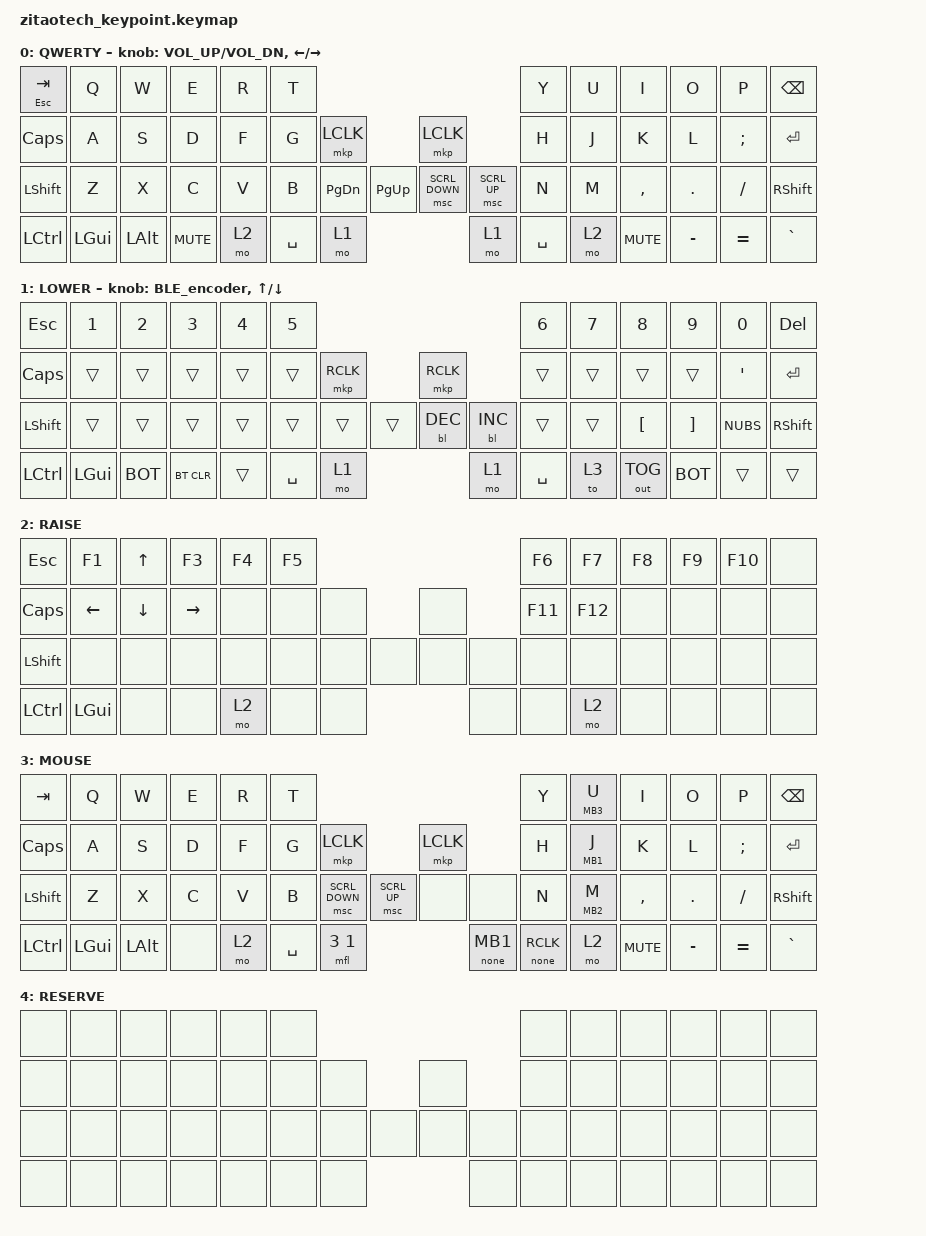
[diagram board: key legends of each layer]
/*
 * Copyright (c) 2025 ZitaoTech
 *
 * SPDX-License-Identifier: MIT
 */

#include <behaviors.dtsi>
#include <dt-bindings/zmk/keys.h>
#include <dt-bindings/zmk/bt.h>
#include <dt-bindings/zmk/outputs.h>

/* Hi-res wheel (CONFIG_ZMK_POINTING_SMOOTH_SCROLLING): wheel units are
 * 1/16 of a detent, so raise the &msc scroll-key speed 16x to keep the
 * old per-notch feel (10 notches/s -> 160 units/s). */
#define ZMK_POINTING_DEFAULT_SCRL_VAL 160

#include <dt-bindings/zmk/pointing.h>
#include <dt-bindings/zmk/mouse.h>
#include <dt-bindings/zmk/backlight.h>
#include <dt-bindings/zmk/ext_power.h>
#include <dt-bindings/zmk/rgb.h>
 
#define LOWER 1
#define RAISE 2
#define MOUSE 3
#define BOT bootloader

/ {
    behaviors {
        td0: tap_dance_0 {
            compatible = "zmk,behavior-tap-dance";
            #binding-cells = <0>;
            tapping-term-ms = <400>;
            bindings = <&mkp LCLK>, <&bt BT_CLR>;
        };
    };
    behaviors {
        tdRMCLK: tap_dance_R_LMouse {
            compatible = "zmk,behavior-tap-dance";
            #binding-cells = <0>;
            tapping-term-ms = <400>;
            bindings = <&mkp RCLK>, <&mkp MCLK>;
        };
    };

    behaviors {
        hm: homerow_mods {
            compatible = "zmk,behavior-hold-tap";
            #binding-cells = <2>;
            tapping-term-ms = <500>;
            bindings = <&kp &kp>;
        };
    };

    behaviors {
         LMouse_sc: behavior_LMouse_Scroll {
           compatible = "zmk,behavior-hold-tap";
           #binding-cells = <2>;
           flavor = "tap-preferred";     /* 单击优先 */
           tapping-term-ms = <200>;       /* 长按阈值 */
           bindings = <&none &mkp>;        /* hold=none, tap=Lmouse */
        };
    };

    behaviors {
         M_kp: behavior_mouse_keypress {
           compatible = "zmk,behavior-hold-tap";
           #binding-cells = <2>;
           flavor = "tap-preferred";     /* 单击优先 */
           tapping-term-ms = <200>;       /* 长按阈值 */
           bindings = <&mkp &kp>;        /* hold=mou key press, tap=key*/
        };
    };

    behaviors {
         prec_rc: behavior_precision_rightclick {
           compatible = "zmk,behavior-hold-tap";
           #binding-cells = <2>;
           flavor = "hold-preferred";     /* 按住期间按其他键不触发右键 (用法: &prec_rc 0 RCLK) */
           tapping-term-ms = <200>;       /* 按住 200ms 以上 = 纯精确定位, 不出输出 */
           bindings = <&none &mkp>;        /* hold=none, tap=mouse key */
        };
    };

    behaviors {
        BLE_encoder: BLE_encoder {
            compatible = "zmk,behavior-sensor-rotate";
            #sensor-binding-cells = <0>;
            bindings = <&bt BT_NXT>, <&bt BT_PRV>;
        };
    };

    behaviors {
        /* 按下: 立即退出鼠标层(param1)并临时进入数字层(param2), 松开恢复。
         * 用法: &mfl 3 1 —— 鼠标层里按 Lower 拇指键直接输数字 */
        mfl: mouse_free_layer {
            compatible = "zmk,behavior-mfl";
            #binding-cells = <2>;
            display-name = "Exit Mouse To Layer";
        };
    };


    keymap {
        compatible = "zmk,keymap";

         default_layer {
            display-name = "QWERTY";    
           bindings = <
&mt ESC TAB &kp Q  &kp W      &kp E      &kp R     &kp T                                                                 &kp Y       &kp U    &kp I      &kp O     &kp P     &kp BSPC
&kp CAPS  &kp A    &kp S      &kp D      &kp F     &kp G     &mkp LCLK                    &mkp LCLK                      &kp H       &kp J    &kp K      &kp L     &kp SEMI  &kp ENTER
&kp LSHFT &kp Z    &kp X      &kp C      &kp V     &kp B     &kp PG_DN  &kp PG_UP         &msc SCRL_DOWN  &msc SCRL_UP   &kp N       &kp M    &kp COMMA  &kp DOT   &kp FSLH  &kp RSHFT
&kp LCTRL &kp LGUI &kp LALT   &kp C_MUTE &mo 2     &kp SPACE &mo 1                                        &mo 1          &kp SPACE   &mo 2    &kp C_MUTE &kp MINUS &kp EQUAL &kp GRAVE
           >;
           sensor-bindings = <&inc_dec_kp C_VOL_UP C_VOL_DN &inc_dec_kp LEFT RIGHT>;
        };


        lower_layer {
            display-name = "LOWER";
            bindings = <
&kp ESC   &kp N1    &kp N2     &kp N3       &kp N4   &kp N5                                                               &kp N6    &kp N7   &kp N8       &kp N9    &kp N0     &kp DEL
&kp CAPS  &trans    &trans     &trans       &trans   &trans           &mkp RCLK                    &mkp RCLK              &trans    &trans   &trans       &trans    &kp SQT    &kp ENTER
&kp LSHFT &trans    &trans     &trans       &trans   &trans           &trans     &trans            &bl BL_DEC  &bl BL_INC &trans    &trans   &kp LBKT     &kp RBKT  &kp NUBS   &kp RSHFT
&kp LCTRL &kp LGUI  &BOT       &bt BT_CLR   &trans   &kp SPACE        &mo 1                                    &mo 1      &kp SPACE &to 3    &out OUT_TOG &BOT      &trans     &trans
            >;
             sensor-bindings = <&BLE_encoder &inc_dec_kp UP DOWN>;
        };

        raise_layer {
            display-name = "RAISE";
            bindings = <
&kp ESC       &kp F1    &kp UP     &kp F3    &kp F4   &kp F5                                                    &kp F6      &kp F7  &kp F8   &kp F9  &kp F10  &none
&kp CAPS      &kp LEFT  &kp DOWN   &kp RIGHT &none    &none   &none                        &none                &kp F11     &kp F12 &none    &none  &none     &none
&kp LSHFT     &none     &none      &none     &none    &none   &none   &none                &none  &none         &none       &none   &none    &none  &none     &none
&kp LCTRL     &kp LGUI  &none      &none     &mo 2    &none   &none                               &none         &none       &mo 2   &none    &none  &none     &none 
            >;
        };

        MOUSE_layer {
            display-name = "MOUSE";
            bindings = <
&kp TAB   &kp Q     &kp W          &kp E     &kp R     &kp T                                                         &kp Y       &M_kp MB3 U    &kp I      &kp O     &kp P     &kp BSPC
&kp CAPS  &kp A     &kp S          &kp D     &kp F     &kp G      &mkp LCLK                         &mkp LCLK        &kp H       &M_kp MB1 J    &kp K      &kp L     &kp SEMI  &kp ENTER
&kp LSHFT &kp Z     &kp X          &kp C     &kp V     &kp B      &msc SCRL_DOWN   &msc SCRL_UP     &none  &none     &kp N       &M_kp MB2 M    &kp COMMA  &kp DOT   &kp FSLH  &kp RSHFT
&kp LCTRL &kp LGUI  &kp  LALT      &none     &mo 2     &kp SPACE  &mfl 3 1                         &LMouse_sc 0 MB1  &prec_rc 0 RCLK    &mo 2          &kp C_MUTE &kp MINUS &kp EQUAL &kp GRAVE
            >;
        };

        RES_layer {
            display-name = "RESERVE";
            bindings = <
&none     &none     &none      &none    &none    &none                                                 &none   &none  &none   &none  &none  &none
&none     &none     &none      &none    &none    &none   &none                        &none            &none   &none  &none   &none  &none  &none
&none     &none     &none      &none    &none    &none   &none   &none                &none  &none     &none   &none  &none   &none  &none  &none
&none     &none     &none      &none    &none    &none   &none                               &none     &none   &none  &none   &none  &none  &none 
            >;
        };

    };
};
